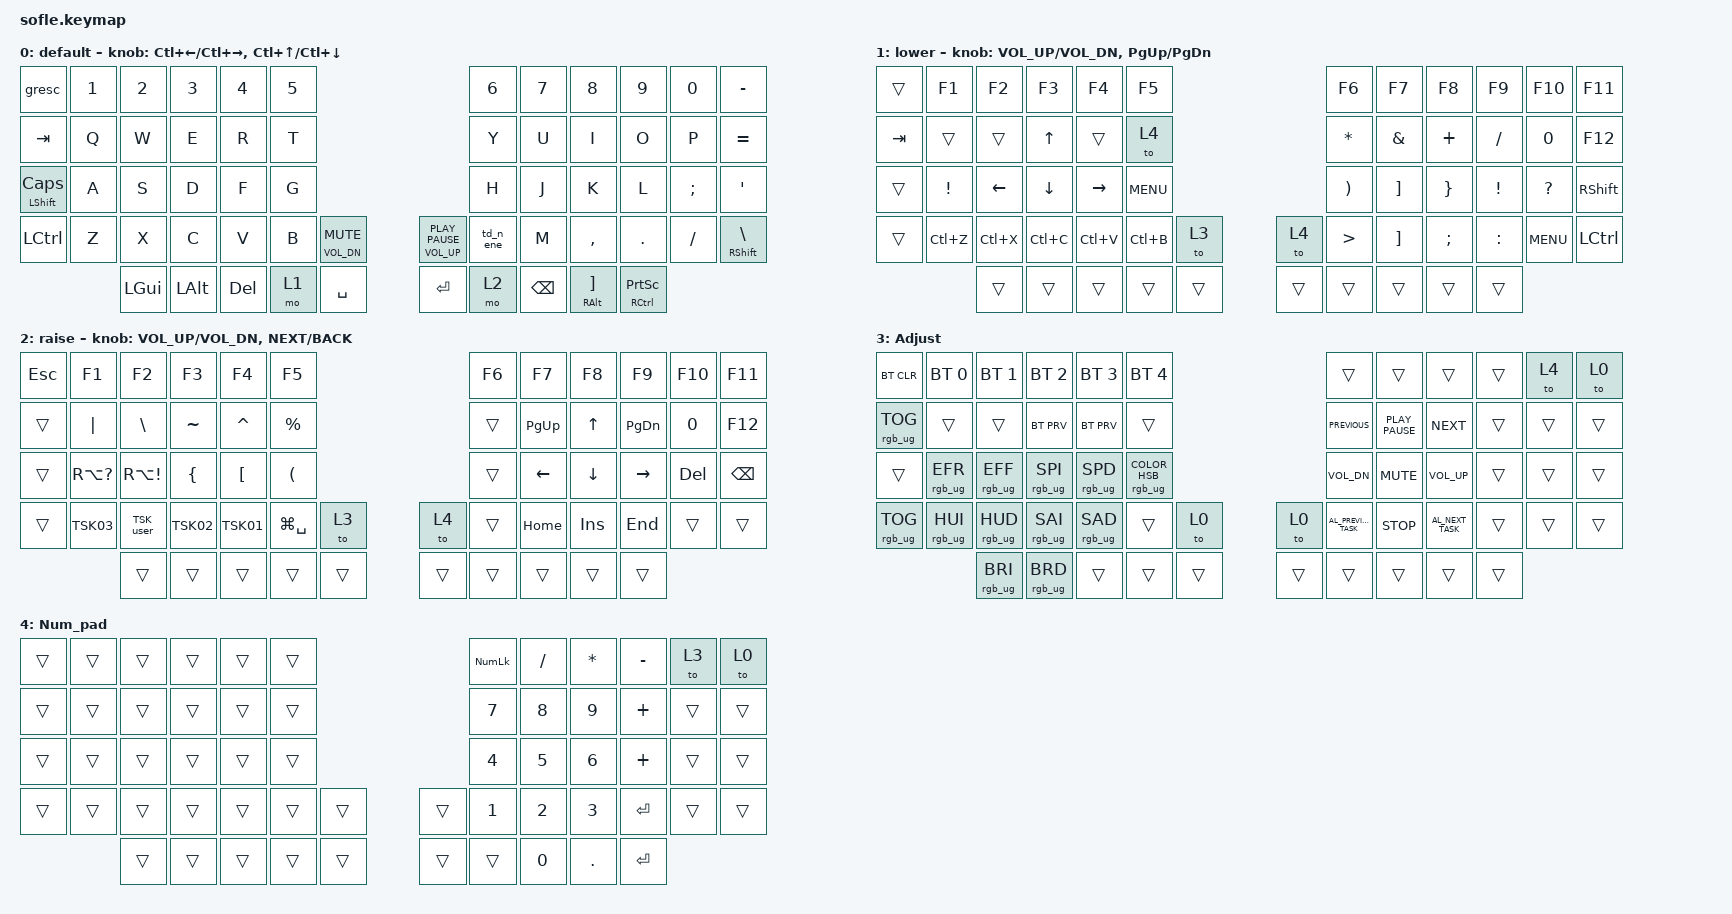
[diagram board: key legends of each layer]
/*
 * Copyright (c) 2020 The ZMK Contributors
 *
 * SPDX-License-Identifier: MIT
 */

#include <dt-bindings/led/led.h>
#include <behaviors.dtsi>
#include <dt-bindings/zmk/bt.h>
#include <dt-bindings/zmk/keys.h>
#include <dt-bindings/zmk/rgb.h>

#define BASE 0
#define LOWER 1
#define RAISE 2
#define ADJUST 3

&pinctrl {
    spi3_default: spi3_default {
        group1 { psels = <NRF_PSEL(SPIM_MOSI, 0, 8)>; };
    };

    spi3_sleep: spi3_sleep {
        group1 {
            psels = <NRF_PSEL(SPIM_MOSI, 0, 8)>;
            low-power-enable;
        };
    };
};

&spi3 {
    compatible = "nordic,nrf-spim";
    status = "okay";
    pinctrl-0 = <&spi3_default>;
    pinctrl-1 = <&spi3_sleep>;
    pinctrl-names = "default", "sleep";

    led_strip: ws2812@0 {
        compatible = "worldsemi,ws2812-spi";
        label = "WS2812";

        /* SPI */

        reg = <0>; /* ignored, but necessary for SPI bindings */
        spi-max-frequency = <4000000>;

        /* WS2812 */

        chain-length = <30>;
        spi-one-frame = <0x70>;
        spi-zero-frame = <0x40>;
        color-mapping = <LED_COLOR_ID_GREEN LED_COLOR_ID_RED LED_COLOR_ID_BLUE>;
    };
};

/ {
    chosen { zmk,underglow = &led_strip; };
};

/ {
    // Activate ADJUST layer by pressing raise and lower

    conditional_layers {
        compatible = "zmk,conditional-layers";

        adjust_layer {
            if-layers = <1 2>;
            then-layer = <3>;
        };
    };

    macros {
        TSK01: TSK01 {
            compatible = "zmk,behavior-macro";
            #binding-cells = <0>;
            bindings = <&kp N1 &kp N3 &kp DOT &kp LS(U) &kp N &kp I &kp C &kp O &kp R &kp N &kp I &kp O &kp AT &kp N1 &kp N9>;
            label = "TSK01";
        };

        TSK02: TSK02 {
            compatible = "zmk,behavior-macro";
            #binding-cells = <0>;
            bindings = <&kp N1 &kp N3 &kp DOT &kp LS(U) &kp N &kp I &kp C &kp O &kp R &kp N &kp I &kp O &kp FSLH &kp N1 &kp N9>;
            label = "TSK02";
        };

        TSK_user: TSK_user {
            compatible = "zmk,behavior-macro";
            #binding-cells = <0>;
            bindings = <&kp J &kp A &kp I &kp R &kp O &kp DOT &kp R &kp A &kp M &kp I &kp R &kp E &kp Z>;
            label = "TSK_USER";
        };

        TSK03: TSK03 {
            compatible = "zmk,behavior-macro";
            #binding-cells = <0>;
            bindings = <&none &kp N1 &kp N3 &kp DOT &kp LS(G) &kp A &kp T &kp O &kp DQT &kp N1 &kp N9>;
            label = "TSK03";
        };
    };

    behaviors {
        td_n_ene: td_n_ene {
            compatible = "zmk,behavior-tap-dance";
            label = "TD_N_ENE";
            #binding-cells = <0>;
            bindings = <&kp N>, <&kp RA(N)>;
        };
    };

    keymap {
        compatible = "zmk,keymap";

        default_layer {
            display-name = "default";

            // ------------------------------------------------------------------------------------------------------------
            // |   `   |  1  |  2  |  3   |  4   |  5   |                   |  6   |  7    |  8    |  9   |   0   |       |
            // |  ESC  |  Q  |  W  |  E   |  R   |  T   |                   |  Y   |  U    |  I    |  O   |   P   | BKSPC |
            // |  TAB  |  A  |  S  |  D   |  F   |  G   |                   |  H   |  J    |  K    |  L   |   ;   |   '   |
            // | SHIFT |  Z  |  X  |  C   |  V   |  B   |  MUTE  |  |       |  N   |  M    |  ,    |  .   |   /   | SHIFT |
            //               | GUI | ALT  | CTRL | LOWER|  ENTER |  | SPACE | RAISE| CTRL  | ALT   | GUI  |

            bindings = <
&gresc              &kp N1  &kp N2    &kp N3    &kp N4      &kp N5                                                    &kp N6     &kp N7         &kp N8                       &kp N9           &kp N0    &kp MINUS
&kp TAB             &kp Q   &kp W     &kp E     &kp R       &kp T                                                     &kp Y      &kp U          &kp I                        &kp O            &kp P     &kp EQUAL
&mt LSHFT CAPSLOCK  &kp A   &kp S     &kp D     &kp F       &kp G                                                     &kp H      &kp J          &kp K                        &kp L            &kp SEMI  &kp SQT
&kp LCTRL           &kp Z   &kp X     &kp C     &kp V       &kp B   &mt C_VOL_DN K_MUTE    &mt C_VOL_UP K_PLAY_PAUSE  &td_n_ene  &kp M          &kp COMMA                    &kp DOT          &kp FSLH  &mt RSHFT BACKSLASH
                            &kp LGUI  &kp LALT  &kp DELETE  &mo 1   &kp SPACE              &kp ENTER                  &mo 2      &kp BACKSPACE  &mt RIGHT_ALT RIGHT_BRACKET  &mt RCTRL PSCRN
            >;

            sensor-bindings =
                <&inc_dec_kp LC(LEFT) LC(RIGHT)>,
                <&inc_dec_kp LC(UP_ARROW) LC(DOWN_ARROW)>;
        };

        lower_layer {
            display-name = "lower";

            // TODO: Some binds are waiting for shifted keycode support.
            // ------------------------------------------------------------------------------------------------------------
            // |       |  F1 |  F2 |  F3  |  F4  |  F5  |                   |  F6  |  F7   |  F8   |  F9  |  F10  |  F11  |
            // |   `   |  1  |  2  |  3   |  4   |  5   |                   |  6   |  7    |  8    |  9   |   0   |  F12  |
            // |       |  !  |  @  |  #   |  $   |  %   |                   |  ^   |  &    |  *    |  (   |   )   |   |   |
            // |       |  =  |  -  |  +   |  {   |  }   |        |  |       |  [   |  ]    |  ;    |  :   |   \   |       |
            //               |     |      |      |      |        |  |       |      |       |       |      |

            bindings = <
&trans   &kp F1     &kp F2          &kp F3          &kp F4           &kp F5                        &kp F6                 &kp F7             &kp F8           &kp F9     &kp F10       &kp F11
&kp TAB  &trans     &trans          &kp UP_ARROW    &trans           &to 4                         &kp ASTERISK           &kp AMPERSAND      &kp PLUS         &kp SLASH  &kp N0        &kp F12
&trans   &kp EXCL   &kp LEFT_ARROW  &kp DOWN_ARROW  &kp RIGHT_ARROW  &kp K_MENU                    &kp RIGHT_PARENTHESIS  &kp RIGHT_BRACKET  &kp RIGHT_BRACE  &kp EXCL   &kp QUESTION  &kp RSHFT
&trans   &kp LC(Z)  &kp LC(X)       &kp LC(C)       &kp LC(V)        &kp LC(B)   &to 3     &to 4   &kp GREATER_THAN       &kp RBKT           &kp SEMI         &kp COLON  &kp K_MENU    &kp LCTRL
                    &trans          &trans          &trans           &trans      &trans    &trans  &trans                 &trans             &trans           &trans
            >;

            sensor-bindings = <&inc_dec_kp C_VOL_UP C_VOL_DN &inc_dec_kp PG_UP PG_DN>;
        };

        raise_layer {
            display-name = "raise";

            // ------------------------------------------------------------------------------------------------------------
            // | BTCLR | BT1  | BT2  |  BT3  |  BT4  |  BT5 |                |      |      |       |      |       |       |
            // |       | INS  | PSCR | GUI   |       |      |                | PGUP |      |   ^   |      |       |       |
            // |       | ALT  | CTRL | SHIFT |       | CAPS |                | PGDN |   <- |   v   |  ->  |  DEL  | BKSPC |
            // |       | UNDO | CUT  | COPY  | PASTE |      |      |  |      |      |      |       |      |       |       |
            //                |      |       |       |      |      |  |      |      |      |       |      |

            bindings = <
&kp ESCAPE  &kp F1            &kp F2         &kp F3          &kp F4            &kp F5                                  &kp F6  &kp F7          &kp F8        &kp F9         &kp F10  &kp F11
&trans      &kp PIPE          &kp BACKSLASH  &kp TILDE       &kp CARET         &kp PERCENT                             &trans  &kp PAGE_UP     &kp UP_ARROW  &kp PAGE_DOWN  &kp N0   &kp F12
&trans      &kp RA(QUESTION)  &kp RA(EXCL)   &kp LEFT_BRACE  &kp LEFT_BRACKET  &kp LEFT_PARENTHESIS                    &trans  &kp LEFT_ARROW  &kp DOWN      &kp RIGHT      &kp DEL  &kp BSPC
&trans      &TSK03            &TSK_user      &TSK02          &TSK01            &kp LG(SPACE)         &to 3     &to 4   &trans  &kp HOME        &kp INS       &kp END        &trans   &trans
                              &trans         &trans          &trans            &trans                &trans    &trans  &trans  &trans          &trans        &trans
            >;

            sensor-bindings =
                <&inc_dec_kp C_VOL_UP C_VOL_DN>,
                <&inc_dec_kp K_NEXT K_BACK>;
        };

        Adjust {
            bindings = <
&bt BT_CLR       &bt BT_SEL 0     &bt BT_SEL 1     &bt BT_SEL 2     &bt BT_SEL 3     &bt BT_SEL 4                                       &trans                  &trans            &trans              &trans  &to 4   &to 0
&rgb_ug RGB_TOG  &trans           &trans           &bt BT_PRV       &bt BT_PRV       &trans                                             &kp K_PREVIOUS          &kp K_PLAY_PAUSE  &kp K_NEXT          &trans  &trans  &trans
&trans           &rgb_ug RGB_EFR  &rgb_ug RGB_EFF  &rgb_ug RGB_SPI  &rgb_ug RGB_SPD  &rgb_ug RGB_COLOR_HSB(0,100,50)                    &kp C_VOL_DN            &kp K_MUTE        &kp C_VOLUME_UP     &trans  &trans  &trans
&rgb_ug RGB_TOG  &rgb_ug RGB_HUI  &rgb_ug RGB_HUD  &rgb_ug RGB_SAI  &rgb_ug RGB_SAD  &trans                           &to 0     &to 0   &kp C_AL_PREVIOUS_TASK  &kp K_STOP        &kp C_AL_NEXT_TASK  &trans  &trans  &trans
                                  &rgb_ug RGB_BRI  &rgb_ug RGB_BRD  &trans           &trans                           &trans    &trans  &trans                  &trans            &trans              &trans
            >;
        };

        Num_pad {
            bindings = <
&trans  &trans  &trans  &trans  &trans  &trans                    &kp KP_NUMLOCK  &kp FSLH  &kp STAR  &kp MINUS  &to 3   &to 0
&trans  &trans  &trans  &trans  &trans  &trans                    &kp N7          &kp N8    &kp N9    &kp PLUS   &trans  &trans
&trans  &trans  &trans  &trans  &trans  &trans                    &kp N4          &kp N5    &kp N6    &kp PLUS   &trans  &trans
&trans  &trans  &trans  &trans  &trans  &trans  &trans    &trans  &kp N1          &kp N2    &kp N3    &kp RET    &trans  &trans
                &trans  &trans  &trans  &trans  &trans    &trans  &trans          &kp N0    &kp DOT   &kp RET
            >;
        };
    };
};
